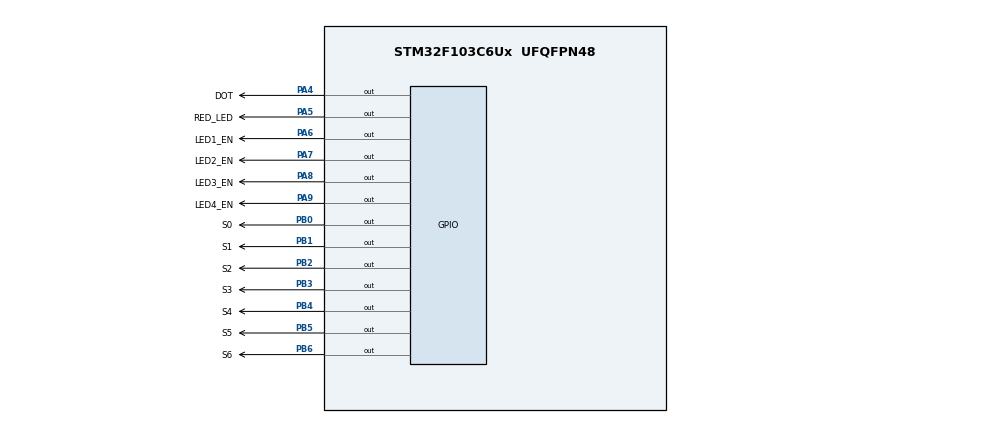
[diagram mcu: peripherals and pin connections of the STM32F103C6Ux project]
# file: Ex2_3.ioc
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Mcu.Family=STM32F1
Mcu.Name=STM32F103C6Ux
Mcu.Package=UFQFPN48
NVIC.PriorityGroup=NVIC_PRIORITYGROUP_4
NVIC.TIM2_IRQn=true\:0\:0\:false\:false\:true\:true\:true\:true
PA4.GPIO_Label=DOT
PA4.Signal=GPIO_Output
PA5.GPIO_Label=RED_LED
PA5.Signal=GPIO_Output
PA6.GPIO_Label=LED1_EN
PA6.Signal=GPIO_Output
PA7.GPIO_Label=LED2_EN
PA7.Signal=GPIO_Output
PA8.GPIO_Label=LED3_EN
PA8.Signal=GPIO_Output
PA9.GPIO_Label=LED4_EN
PA9.Signal=GPIO_Output
PB0.GPIO_Label=S0
PB0.Signal=GPIO_Output
PB1.GPIO_Label=S1
PB1.Signal=GPIO_Output
PB2.GPIO_Label=S2
PB2.Signal=GPIO_Output
PB3.GPIO_Label=S3
PB3.Signal=GPIO_Output
PB4.GPIO_Label=S4
PB4.Signal=GPIO_Output
PB5.GPIO_Label=S5
PB5.Signal=GPIO_Output
PB6.GPIO_Label=S6
PB6.Signal=GPIO_Output
ProjectManager.HeapSize=0x200
ProjectManager.StackSize=0x400
ProjectManager.TargetToolchain=STM32CubeIDE
RCC.APB1Freq_Value=8000000
RCC.APB2Freq_Value=8000000
TIM2.Period=9
TIM2.Prescaler=7999
VP_SYS_VS_ND.Mode=No_Debug
VP_TIM2_VS_ClockSourceINT.Mode=Internal
board=custom

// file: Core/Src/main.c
/* USER CODE BEGIN Header */
/**
  ******************************************************************************
  * @file           : main.c
  * @brief          : Main program body
  ******************************************************************************
  * @attention
  *
  * Copyright (c) 2026 STMicroelectronics.
  * All rights reserved.
  *
  * This software is licensed under terms that can be found in the LICENSE file
  * in the root directory of this software component.
  * If no LICENSE file comes with this software, it is provided AS-IS.
  *
  ******************************************************************************
  */
/* USER CODE END Header */
#include "main.h"

TIM_HandleTypeDef htim2;

void SystemClock_Config(void);
static void MX_GPIO_Init(void);
static void MX_TIM2_Init(void);

void display7SEG(int num){
	switch(num)
	{
	case 0:
		HAL_GPIO_WritePin(S0_GPIO_Port , S0_Pin , GPIO_PIN_RESET);
		HAL_GPIO_WritePin(S1_GPIO_Port , S1_Pin , GPIO_PIN_RESET);
		HAL_GPIO_WritePin(S2_GPIO_Port , S2_Pin , GPIO_PIN_RESET);
		HAL_GPIO_WritePin(S3_GPIO_Port , S3_Pin , GPIO_PIN_RESET);
		HAL_GPIO_WritePin(S4_GPIO_Port , S4_Pin , GPIO_PIN_RESET);
		HAL_GPIO_WritePin(S5_GPIO_Port , S5_Pin , GPIO_PIN_RESET);
		HAL_GPIO_WritePin(S6_GPIO_Port , S6_Pin , GPIO_PIN_SET);
		break;
	case 1:
		HAL_GPIO_WritePin(S0_GPIO_Port , S0_Pin , GPIO_PIN_SET);
		HAL_GPIO_WritePin(S1_GPIO_Port , S1_Pin , GPIO_PIN_RESET);
		HAL_GPIO_WritePin(S2_GPIO_Port , S2_Pin , GPIO_PIN_RESET);
		HAL_GPIO_WritePin(S3_GPIO_Port , S3_Pin , GPIO_PIN_SET);
		HAL_GPIO_WritePin(S4_GPIO_Port , S4_Pin , GPIO_PIN_SET);
		HAL_GPIO_WritePin(S5_GPIO_Port , S5_Pin , GPIO_PIN_SET);
		HAL_GPIO_WritePin(S6_GPIO_Port , S6_Pin , GPIO_PIN_SET);
		break;
	case 2:
		HAL_GPIO_WritePin(S0_GPIO_Port , S0_Pin , GPIO_PIN_RESET);
		HAL_GPIO_WritePin(S1_GPIO_Port , S1_Pin , GPIO_PIN_RESET);
		HAL_GPIO_WritePin(S2_GPIO_Port , S2_Pin , GPIO_PIN_SET);
		HAL_GPIO_WritePin(S3_GPIO_Port , S3_Pin , GPIO_PIN_RESET);
		HAL_GPIO_WritePin(S4_GPIO_Port , S4_Pin , GPIO_PIN_RESET);
		HAL_GPIO_WritePin(S5_GPIO_Port , S5_Pin , GPIO_PIN_SET);
		HAL_GPIO_WritePin(S6_GPIO_Port , S6_Pin , GPIO_PIN_RESET);
		break;
	case 3:
		HAL_GPIO_WritePin(S0_GPIO_Port , S0_Pin , GPIO_PIN_RESET);
		HAL_GPIO_WritePin(S1_GPIO_Port , S1_Pin , GPIO_PIN_RESET);
		HAL_GPIO_WritePin(S2_GPIO_Port , S2_Pin , GPIO_PIN_RESET);
		HAL_GPIO_WritePin(S3_GPIO_Port , S3_Pin , GPIO_PIN_RESET);
		HAL_GPIO_WritePin(S4_GPIO_Port , S4_Pin , GPIO_PIN_SET);
		HAL_GPIO_WritePin(S5_GPIO_Port , S5_Pin , GPIO_PIN_SET);
		HAL_GPIO_WritePin(S6_GPIO_Port , S6_Pin , GPIO_PIN_RESET);
		break;
	case 4:
		HAL_GPIO_WritePin(S0_GPIO_Port , S0_Pin , GPIO_PIN_SET);
		HAL_GPIO_WritePin(S1_GPIO_Port , S1_Pin , GPIO_PIN_RESET);
		HAL_GPIO_WritePin(S2_GPIO_Port , S2_Pin , GPIO_PIN_RESET);
		HAL_GPIO_WritePin(S3_GPIO_Port , S3_Pin , GPIO_PIN_SET);
		HAL_GPIO_WritePin(S4_GPIO_Port , S4_Pin , GPIO_PIN_SET);
		HAL_GPIO_WritePin(S5_GPIO_Port , S5_Pin , GPIO_PIN_RESET);
		HAL_GPIO_WritePin(S6_GPIO_Port , S6_Pin , GPIO_PIN_RESET);
		break;
	case 5:
		HAL_GPIO_WritePin(S0_GPIO_Port , S0_Pin , GPIO_PIN_RESET);
		HAL_GPIO_WritePin(S1_GPIO_Port , S1_Pin , GPIO_PIN_SET);
		HAL_GPIO_WritePin(S2_GPIO_Port , S2_Pin , GPIO_PIN_RESET);
		HAL_GPIO_WritePin(S3_GPIO_Port , S3_Pin , GPIO_PIN_RESET);
		HAL_GPIO_WritePin(S4_GPIO_Port , S4_Pin , GPIO_PIN_SET);
		HAL_GPIO_WritePin(S5_GPIO_Port , S5_Pin , GPIO_PIN_RESET);
		HAL_GPIO_WritePin(S6_GPIO_Port , S6_Pin , GPIO_PIN_RESET);
		break;
	case 6:
		HAL_GPIO_WritePin(S0_GPIO_Port , S0_Pin , GPIO_PIN_RESET);
		HAL_GPIO_WritePin(S1_GPIO_Port , S1_Pin , GPIO_PIN_SET);
		HAL_GPIO_WritePin(S2_GPIO_Port , S2_Pin , GPIO_PIN_RESET);
		HAL_GPIO_WritePin(S3_GPIO_Port , S3_Pin , GPIO_PIN_RESET);
		HAL_GPIO_WritePin(S4_GPIO_Port , S4_Pin , GPIO_PIN_RESET);
		HAL_GPIO_WritePin(S5_GPIO_Port , S5_Pin , GPIO_PIN_RESET);
		HAL_GPIO_WritePin(S6_GPIO_Port , S6_Pin , GPIO_PIN_RESET);
		break;
	case 7:
		HAL_GPIO_WritePin(S0_GPIO_Port , S0_Pin , GPIO_PIN_RESET);
		HAL_GPIO_WritePin(S1_GPIO_Port , S1_Pin , GPIO_PIN_RESET);
		HAL_GPIO_WritePin(S2_GPIO_Port , S2_Pin , GPIO_PIN_RESET);
		HAL_GPIO_WritePin(S3_GPIO_Port , S3_Pin , GPIO_PIN_SET);
		HAL_GPIO_WritePin(S4_GPIO_Port , S4_Pin , GPIO_PIN_SET);
		HAL_GPIO_WritePin(S5_GPIO_Port , S5_Pin , GPIO_PIN_SET);
		HAL_GPIO_WritePin(S6_GPIO_Port , S6_Pin , GPIO_PIN_SET);
		break;
	case 8:
		HAL_GPIO_WritePin(S0_GPIO_Port , S0_Pin , GPIO_PIN_RESET);
		HAL_GPIO_WritePin(S1_GPIO_Port , S1_Pin , GPIO_PIN_RESET);
		HAL_GPIO_WritePin(S2_GPIO_Port , S2_Pin , GPIO_PIN_RESET);
		HAL_GPIO_WritePin(S3_GPIO_Port , S3_Pin , GPIO_PIN_RESET);
		HAL_GPIO_WritePin(S4_GPIO_Port , S4_Pin , GPIO_PIN_RESET);
		HAL_GPIO_WritePin(S5_GPIO_Port , S5_Pin , GPIO_PIN_RESET);
		HAL_GPIO_WritePin(S6_GPIO_Port , S6_Pin , GPIO_PIN_RESET);
		break;
	case 9:
		HAL_GPIO_WritePin(S0_GPIO_Port , S0_Pin , GPIO_PIN_RESET);
		HAL_GPIO_WritePin(S1_GPIO_Port , S1_Pin , GPIO_PIN_RESET);
		HAL_GPIO_WritePin(S2_GPIO_Port , S2_Pin , GPIO_PIN_RESET);
		HAL_GPIO_WritePin(S3_GPIO_Port , S3_Pin , GPIO_PIN_RESET);
		HAL_GPIO_WritePin(S4_GPIO_Port , S4_Pin , GPIO_PIN_SET);
		HAL_GPIO_WritePin(S5_GPIO_Port , S5_Pin , GPIO_PIN_RESET);
		HAL_GPIO_WritePin(S6_GPIO_Port , S6_Pin , GPIO_PIN_RESET);
		break;
	default:
		break;
	}
}

int main(void)
{

  /* MCU Configuration--------------------------------------------------------*/

  /* Reset of all peripherals, Initializes the Flash interface and the Systick. */
  HAL_Init();

  /* Configure the system clock */
  SystemClock_Config();

  /* Initialize all configured peripherals */
  MX_GPIO_Init();
  MX_TIM2_Init();
  /* USER CODE BEGIN 2 */
  HAL_TIM_Base_Start_IT(&htim2);
  /* USER CODE END 2 */

  /* Infinite loop */
  while (1)
  {

  }
}

void SystemClock_Config(void)
{
  RCC_OscInitTypeDef RCC_OscInitStruct = {0};
  RCC_ClkInitTypeDef RCC_ClkInitStruct = {0};

  /** Initializes the RCC Oscillators according to the specified parameters
  * in the RCC_OscInitTypeDef structure.
  */
  RCC_OscInitStruct.OscillatorType = RCC_OSCILLATORTYPE_HSI;
  RCC_OscInitStruct.HSIState = RCC_HSI_ON;
  RCC_OscInitStruct.HSICalibrationValue = RCC_HSICALIBRATION_DEFAULT;
  RCC_OscInitStruct.PLL.PLLState = RCC_PLL_NONE;
  if (HAL_RCC_OscConfig(&RCC_OscInitStruct) != HAL_OK)
  {
    Error_Handler();
  }

  /** Initializes the CPU, AHB and APB buses clocks
  */
  RCC_ClkInitStruct.ClockType = RCC_CLOCKTYPE_HCLK|RCC_CLOCKTYPE_SYSCLK
                              |RCC_CLOCKTYPE_PCLK1|RCC_CLOCKTYPE_PCLK2;
  RCC_ClkInitStruct.SYSCLKSource = RCC_SYSCLKSOURCE_HSI;
  RCC_ClkInitStruct.AHBCLKDivider = RCC_SYSCLK_DIV1;
  RCC_ClkInitStruct.APB1CLKDivider = RCC_HCLK_DIV1;
  RCC_ClkInitStruct.APB2CLKDivider = RCC_HCLK_DIV1;

  if (HAL_RCC_ClockConfig(&RCC_ClkInitStruct, FLASH_LATENCY_0) != HAL_OK)
  {
    Error_Handler();
  }
}

static void MX_TIM2_Init(void)
{

  TIM_ClockConfigTypeDef sClockSourceConfig = {0};
  TIM_MasterConfigTypeDef sMasterConfig = {0};

  htim2.Instance = TIM2;
  htim2.Init.Prescaler = 7999;
  htim2.Init.CounterMode = TIM_COUNTERMODE_UP;
  htim2.Init.Period = 9;
  htim2.Init.ClockDivision = TIM_CLOCKDIVISION_DIV1;
  htim2.Init.AutoReloadPreload = TIM_AUTORELOAD_PRELOAD_DISABLE;
  if (HAL_TIM_Base_Init(&htim2) != HAL_OK)
  {
    Error_Handler();
  }
  sClockSourceConfig.ClockSource = TIM_CLOCKSOURCE_INTERNAL;
  if (HAL_TIM_ConfigClockSource(&htim2, &sClockSourceConfig) != HAL_OK)
  {
    Error_Handler();
  }
  sMasterConfig.MasterOutputTrigger = TIM_TRGO_RESET;
  sMasterConfig.MasterSlaveMode = TIM_MASTERSLAVEMODE_DISABLE;
  if (HAL_TIMEx_MasterConfigSynchronization(&htim2, &sMasterConfig) != HAL_OK)
  {
    Error_Handler();
  }

}

static void MX_GPIO_Init(void)
{
  GPIO_InitTypeDef GPIO_InitStruct = {0};

  /* GPIO Ports Clock Enable */
  __HAL_RCC_GPIOA_CLK_ENABLE();
  __HAL_RCC_GPIOB_CLK_ENABLE();

  /*Configure GPIO pin Output Level */
  HAL_GPIO_WritePin(GPIOA, DOT_Pin|RED_LED_Pin|LED1_EN_Pin|LED2_EN_Pin|LED3_EN_Pin|LED4_EN_Pin, GPIO_PIN_RESET);

  /*Configure GPIO pin Output Level */
  HAL_GPIO_WritePin(GPIOB, S0_Pin|S1_Pin|S2_Pin|S3_Pin|S4_Pin|S5_Pin|S6_Pin, GPIO_PIN_RESET);

  /*Configure GPIO pins : DOT_Pin RED_LED_Pin LED1_EN_Pin LED2_EN_Pin
                           LED3_EN_Pin LED4_EN_Pin */
  GPIO_InitStruct.Pin = DOT_Pin|RED_LED_Pin|LED1_EN_Pin|LED2_EN_Pin
                          |LED3_EN_Pin|LED4_EN_Pin;
  GPIO_InitStruct.Mode = GPIO_MODE_OUTPUT_PP;
  GPIO_InitStruct.Pull = GPIO_NOPULL;
  GPIO_InitStruct.Speed = GPIO_SPEED_FREQ_LOW;
  HAL_GPIO_Init(GPIOA, &GPIO_InitStruct);

  /*Configure GPIO pins : S0_Pin S1_Pin S2_Pin S3_Pin
                           S4_Pin S5_Pin S6_Pin */
  GPIO_InitStruct.Pin = S0_Pin|S1_Pin|S2_Pin|S3_Pin
                          |S4_Pin|S5_Pin|S6_Pin;
  GPIO_InitStruct.Mode = GPIO_MODE_OUTPUT_PP;
  GPIO_InitStruct.Pull = GPIO_NOPULL;
  GPIO_InitStruct.Speed = GPIO_SPEED_FREQ_LOW;
  HAL_GPIO_Init(GPIOB, &GPIO_InitStruct);

}

/* USER CODE BEGIN 4 */
const int MAX_LED = 4;
int index_led = 0;
int led_buffer[4] = {1, 2, 3, 0};
/*int counter = 25;*/
int counter = 50;
int dot_counter = 100;

void update7SEG(int index)
{
    HAL_GPIO_WritePin(LED1_EN_GPIO_Port, LED1_EN_Pin, GPIO_PIN_SET);
    HAL_GPIO_WritePin(LED2_EN_GPIO_Port, LED2_EN_Pin, GPIO_PIN_SET);
    HAL_GPIO_WritePin(LED3_EN_GPIO_Port, LED3_EN_Pin, GPIO_PIN_SET);
    HAL_GPIO_WritePin(LED4_EN_GPIO_Port, LED4_EN_Pin, GPIO_PIN_SET);

    switch(index)
    {
        case 0:
            display7SEG(led_buffer[0]);
            HAL_GPIO_WritePin(LED1_EN_GPIO_Port, LED1_EN_Pin, GPIO_PIN_RESET);
            break;

        case 1:
            display7SEG(led_buffer[1]);
            HAL_GPIO_WritePin(LED2_EN_GPIO_Port, LED2_EN_Pin, GPIO_PIN_RESET);
            break;

        case 2:
            display7SEG(led_buffer[2]);
            HAL_GPIO_WritePin(LED3_EN_GPIO_Port, LED3_EN_Pin, GPIO_PIN_RESET);
            break;

        case 3:
            display7SEG(led_buffer[3]);
            HAL_GPIO_WritePin(LED4_EN_GPIO_Port, LED4_EN_Pin, GPIO_PIN_RESET);
            break;

        default:
            break;
    }
}

void HAL_TIM_PeriodElapsedCallback ( TIM_HandleTypeDef * htim )
{
	/*Ex 2*/
	/**counter--;
	if( counter <= 0) {
		counter = 50;
		 HAL_GPIO_WritePin(LED1_EN_GPIO_Port, LED1_EN_Pin, GPIO_PIN_SET);
		 HAL_GPIO_WritePin(LED2_EN_GPIO_Port, LED2_EN_Pin, GPIO_PIN_SET);
		 HAL_GPIO_WritePin(LED3_EN_GPIO_Port, LED3_EN_Pin, GPIO_PIN_SET);
		 HAL_GPIO_WritePin(LED4_EN_GPIO_Port, LED4_EN_Pin, GPIO_PIN_SET);

		 switch(index_led)
		        {
		            case 0:
		                display7SEG(1);
		                HAL_GPIO_WritePin(LED1_EN_GPIO_Port,LED1_EN_Pin,GPIO_PIN_RESET);
		                break;

		            case 1:
		                display7SEG(2);
		                HAL_GPIO_WritePin(LED2_EN_GPIO_Port,LED2_EN_Pin,GPIO_PIN_RESET);
		                break;

		            case 2:
		                display7SEG(3);
		                HAL_GPIO_WritePin(LED3_EN_GPIO_Port,LED3_EN_Pin,GPIO_PIN_RESET);
		                break;

		            case 3:
		                display7SEG(0);
		                HAL_GPIO_WritePin(LED4_EN_GPIO_Port,LED4_EN_Pin,GPIO_PIN_RESET);
		                break;
		        }

		        index_led++;
		        if(index_led >= 4) index_led=0;
	}**/

	/* Ex 3*/
	counter--;
	if(counter <= 0)
	   {
	        counter = 50;
	        /*counter = 25;*/
	        update7SEG(index_led);
	        index_led++;
	        if(index_led >= MAX_LED)
	        {
	            index_led = 0;
	        }
	    }

	dot_counter--;
	if(dot_counter <= 0)
	    {
	        dot_counter = 100;
	        HAL_GPIO_TogglePin(DOT_GPIO_Port, DOT_Pin);
	    }
}
/* USER CODE END 4 */

void Error_Handler(void)
{
  __disable_irq();
  while (1)
  {
  }
}
